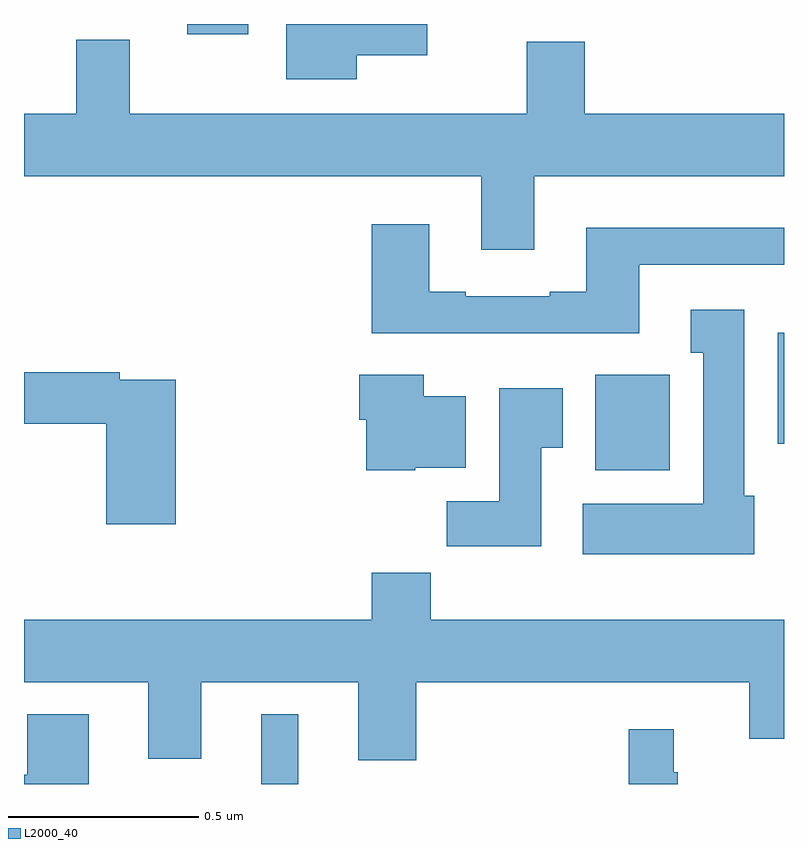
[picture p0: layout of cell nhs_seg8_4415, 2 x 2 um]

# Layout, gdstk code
import gdstk
lib = gdstk.Library(unit=1e-6, precision=1e-09)
def R(c, l, rs):  # rectangles x0, y0, x1, y1
    for r in rs: c.add(gdstk.rectangle(r[:2], r[2:], *l))
def P(c, l, *ps):  # polygons
    for p in ps: c.add(gdstk.Polygon(p, *l))
L2000_40 = (2000, 40)

nhs_seg8_4415 = lib.new_cell('nhs_seg8_4415')
R(nhs_seg8_4415, L2000_40, [(170.624,1114.9,170.722,1115.083), (171.503,1115.726,171.699,1115.977), (171.983,1115.796,172,1116.088), (170.429,1116.873,170.59,1116.9)])
P(nhs_seg8_4415, L2000_40, [(170.875,1116.818),(171.061,1116.818),(171.061,1116.9),(170.69,1116.9),(170.69,1116.755),(170.875,1116.755)],
  [(171.343,1116.5),(172,1116.5),(172,1116.664),(171.476,1116.664),(171.476,1116.853),(171.323,1116.853),(171.323,1116.664),(170.278,1116.664),(170.278,1116.859),(170.138,1116.859),(170.138,1116.664),(170,1116.664),(170,1116.5),(171.203,1116.5),(171.203,1116.306),(171.343,1116.306)],
  [(171.619,1116.267),(172,1116.267),(172,1116.364),(171.479,1116.364),(171.479,1116.196),(171.383,1116.196),(171.383,1116.183),(171.163,1116.183),(171.163,1116.196),(171.067,1116.196),(171.067,1116.373),(170.915,1116.373),(170.915,1116.086),(171.619,1116.086)],
  [(171.922,1115.658),(171.895,1115.658),(171.895,1116.148),(171.755,1116.148),(171.755,1116.035),(171.788,1116.035),(171.788,1115.638),(171.471,1115.638),(171.471,1115.504),(171.922,1115.504)],
  [(170.399,1115.964),(170.252,1115.964),(170.252,1115.984),(170,1115.984),(170,1115.848),(170.216,1115.848),(170.216,1115.583),(170.399,1115.583)],
  [(171.03,1115.732),(171.163,1115.732),(171.163,1115.92),(171.052,1115.92),(171.052,1115.977),(170.882,1115.977),(170.882,1115.859),(170.9,1115.859),(170.9,1115.726),(171.03,1115.726)],
  [(171.361,1115.785),(171.418,1115.785),(171.418,1115.941),(171.251,1115.941),(171.251,1115.644),(171.112,1115.644),(171.112,1115.526),(171.361,1115.526)],
  [(171.032,1115.168),(171.908,1115.168),(171.908,1115.019),(172,1115.019),(172,1115.332),(171.071,1115.332),(171.071,1115.456),(170.915,1115.456),(170.915,1115.332),(170,1115.332),(170,1115.168),(170.327,1115.168),(170.327,1114.966),(170.467,1114.966),(170.467,1115.168),(170.879,1115.168),(170.879,1114.962),(171.032,1114.962)],
  [(170.17,1115.083),(170.009,1115.083),(170.009,1114.924),(170,1114.924),(170,1114.9),(170.17,1114.9)],
  [(171.721,1114.931),(171.71,1114.931),(171.71,1115.044),(171.592,1115.044),(171.592,1114.9),(171.721,1114.9)])

lib.write_gds('nhs_seg8_4415.gds')
